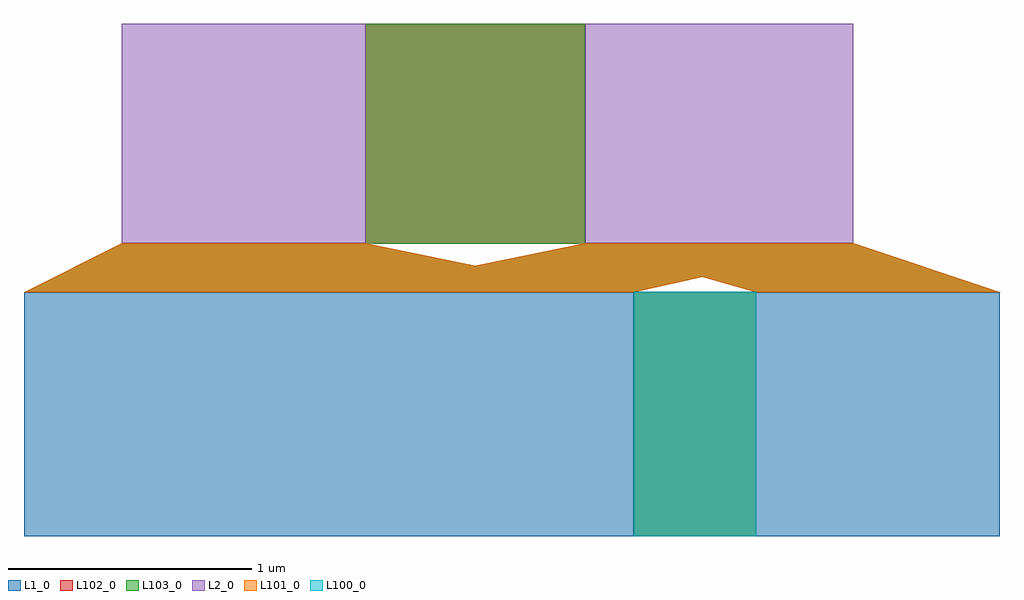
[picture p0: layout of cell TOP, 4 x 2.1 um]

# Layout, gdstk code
import gdstk
lib = gdstk.Library(unit=1e-6, precision=1e-09)
def R(c, l, rs):  # rectangles x0, y0, x1, y1
    for r in rs: c.add(gdstk.rectangle(r[:2], r[2:], *l))
def A(c, l, x, y, w, h, nx, ny, dx, dy):  # array of equal rectangles
    R(c, l, [(x+i*dx, y+j*dy, x+i*dx+w, y+j*dy+h) for i in range(nx) for j in range(ny)])
def P(c, l, *ps):  # polygons
    for p in ps: c.add(gdstk.Polygon(p, *l))
L1_0 = (1, 0)
L2_0 = (2, 0)
L100_0 = (100, 0)
L101_0 = (101, 0)
L102_0 = (102, 0)
L103_0 = (103, 0)

top = lib.new_cell('TOP')
A(top, L1_0, 0, 0, 1, 1, 3, 1, 1.5, 0)
R(top, L1_0, [(0.7,0,1.8,1)])
R(top, L2_0, [(0.4,1.2,1.4,2.1), (2.3,1.2,3.4,2.1)])
R(top, L100_0, [(2.499,-0.001,3.001,1.001)])
P(top, L101_0, [(-0.001,0.999),(0.399,1.201),(1.401,1.201),(1.001,0.999)],
  [(1.499,0.999),(2.299,1.201),(3.401,1.201),(2.501,0.999)],
  [(1.499,0.999),(0.519,1.201),(1.401,1.201),(2.381,0.999)],
  [(2.999,0.999),(2.299,1.201),(3.401,1.201),(4.001,0.999)],
  [(1.319,0.999),(2.299,1.201),(2.781,1.201),(1.801,0.999)],
  [(0.699,0.999),(0.399,1.201),(1.401,1.201),(1.801,0.999)])
R(top, L102_0, [(2.499,-0.001,3.001,1.001), (1.399,1.199,2.301,2.101)])
P(top, L102_0, [(-0.001,0.999),(0.399,1.201),(1.401,1.201),(1.001,0.999)],
  [(0.699,0.999),(0.399,1.201),(1.401,1.201),(1.801,0.999)],
  [(1.499,0.999),(2.299,1.201),(3.401,1.201),(2.501,0.999)],
  [(1.319,0.999),(2.299,1.201),(2.781,1.201),(1.801,0.999)],
  [(-0.001,0.999),(0.399,1.201),(1.401,1.201),(2.381,0.999)],
  [(1.499,0.999),(0.519,1.201),(1.401,1.201),(2.381,0.999)],
  [(1.319,0.999),(2.299,1.201),(3.401,1.201),(2.501,0.999)],
  [(2.999,0.999),(2.299,1.201),(3.401,1.201),(4.001,0.999)])
R(top, L103_0, [(2.499,-0.001,3.001,1.001), (1.399,1.199,2.301,2.101)])
P(top, L103_0, [(-0.001,0.999),(0.399,1.201),(1.401,1.201),(1.001,0.999)],
  [(0.699,0.999),(0.399,1.201),(1.401,1.201),(1.801,0.999)],
  [(1.499,0.999),(2.299,1.201),(3.401,1.201),(2.501,0.999)],
  [(1.319,0.999),(2.299,1.201),(2.781,1.201),(1.801,0.999)],
  [(-0.001,0.999),(0.399,1.201),(1.401,1.201),(2.381,0.999)],
  [(1.499,0.999),(0.519,1.201),(1.401,1.201),(2.381,0.999)],
  [(1.319,0.999),(2.299,1.201),(3.401,1.201),(2.501,0.999)],
  [(2.999,0.999),(2.299,1.201),(3.401,1.201),(4.001,0.999)])

lib.write_gds('TOP.gds')
